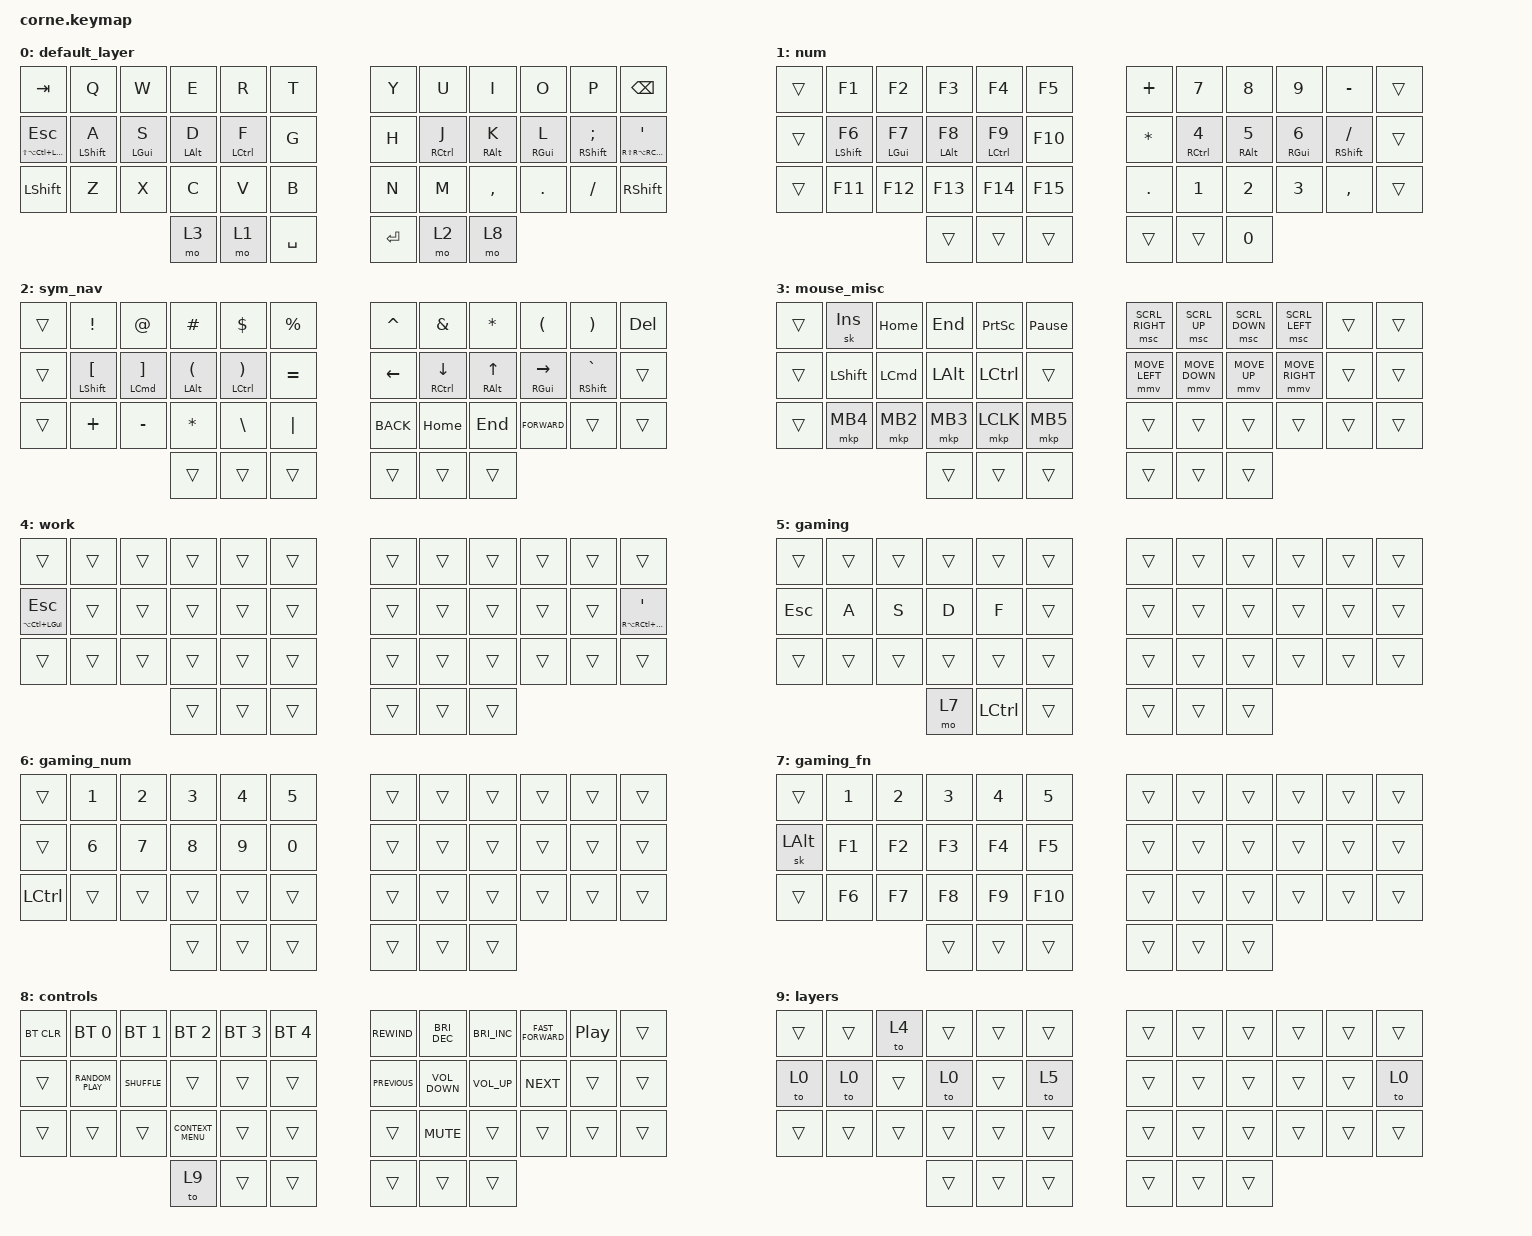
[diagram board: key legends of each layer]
/*
 * Copyright (c) 2020 The ZMK Contributors
 *
 * SPDX-License-Identifier: MIT
 */

#define ZMK_POINTING_DEFAULT_MOVE_VAL 1500  // default: 600
#define ZMK_POINTING_DEFAULT_SCRL_VAL 20    // default: 10

#include <behaviors.dtsi>
#include <dt-bindings/zmk/bt.h>
#include <dt-bindings/zmk/keys.h>
#include <dt-bindings/zmk/pointing.h>

/ {
    behaviors {
        hml: home_row_mod_left {
            compatible = "zmk,behavior-hold-tap";
            #binding-cells = <2>;
            flavor = "balanced";
            require-prior-idle-ms = <150>;
            tapping-term-ms = <280>;
            quick-tap-ms = <175>;
            bindings = <&kp>, <&kp>;

            hold-trigger-key-positions = <7 8 9 10 11 6 18 30 31 19 32 20 33 21 6 7 8 9 10 11 18 19 20 21 22 23 30 31 32 33 34 35 39 40 41>; // List of keys on the right side of the keyboard
            hold-trigger-on-release;
        };

        hmr: home_row_mod_right {
            compatible = "zmk,behavior-hold-tap";
            #binding-cells = <2>;
            flavor = "balanced";
            require-prior-idle-ms = <150>;
            tapping-term-ms = <280>;
            quick-tap-ms = <175>;
            bindings = <&kp>, <&kp>;

            hold-trigger-key-positions = <1 2 3 4 5 0 1 2 3 4 5 12 13 14 15 16 17 24 25 26 27 28 29 36 37 38>; // List of keys on the left side of the keyboard
            hold-trigger-on-release;
        };
    };

    keymap {
        compatible = "zmk,keymap";

        default_layer {
            // -----------------------------------------------------------------------------------------
            // |  TAB |  Q  |  W  |  E  |  R  |  T  |   |  Y  |  U   |  I  |  O  |  P  | BSPC |
            // | CTRL |  A  |  S  |  D  |  F  |  G  |   |  H  |  J   |  K  |  L  |  ;  |  '   |
            // | SHFT |  Z  |  X  |  C  |  V  |  B  |   |  N  |  M   |  ,  |  .  |  /  | ESC  |
            //                    | GUI | LWR | SPC |   | ENT | RSE  | ALT |

            bindings = <
&kp TAB                       &kp Q         &kp W            &kp E        &kp R                &kp T        &kp Y    &kp U         &kp I        &kp O             &kp P            &kp BSPC
&hml LS(LA(LC(LGUI))) ESCAPE  &hml LSHFT A  &hml LEFT_GUI S  &hml LALT D  &hml LEFT_CONTROL F  &kp G        &kp H    &hmr RCTRL J  &hmr RALT K  &hmr RIGHT_GUI L  &hmr RSHFT SEMI  &hmr RS(RA(RC(RGUI))) SINGLE_QUOTE
&kp LSHFT                     &kp Z         &kp X            &kp C        &kp V                &kp B        &kp N    &kp M         &kp COMMA    &kp DOT           &kp FSLH         &kp RSHFT
                                                             &mo 3        &mo 1                &kp SPACE    &kp RET  &mo 2         &mo 8
            >;
        };

        num {
            // -----------------------------------------------------------------------------------------
            // |  TAB |  1  |  2  |  3  |  4  |  5  |   |  6  |  7  |  8  |  9  |  0  | BSPC |
            // | BTCLR| BT1 | BT2 | BT3 | BT4 | BT5 |   | LFT | DWN |  UP | RGT |     |      |
            // | SHFT |     |     |     |     |     |   |     |     |     |     |     |      |
            //                    | GUI |     | SPC |   | ENT |     | ALT |

            bindings = <
&trans  &kp F1          &kp F2        &kp F3            &kp F4         &kp F5     &kp PLUS      &kp N7               &kp N8                   &kp N9              &kp MINUS          &trans
&trans  &hml LSHIFT F6  &hml LGUI F7  &hml LEFT_ALT F8  &hml LCTRL F9  &kp F10    &kp ASTERISK  &hmr RCTRL NUMBER_4  &hmr RIGHT_ALT NUMBER_5  &hmr RGUI NUMBER_6  &hmr RSHIFT SLASH  &trans
&trans  &kp F11         &kp F12       &kp F13           &kp F14        &kp F15    &kp DOT       &kp N1               &kp N2                   &kp N3              &kp COMMA          &trans
                                      &trans            &trans         &trans     &trans        &trans               &kp NUMBER_0
            >;
        };

        sym_nav {
            // -----------------------------------------------------------------------------------------
            // |  TAB |  !  |  @  |  #  |  $  |  %  |   |  ^  |  &  |  *  |  (  |  )  | BSPC |
            // | CTRL |     |     |     |     |     |   |  -  |  =  |  [  |  ]  |  \  |  `   |
            // | SHFT |     |     |     |     |     |   |  _  |  +  |  {  |  }  | "|" |  ~   |
            //                    | GUI |     | SPC |   | ENT |     | ALT |

            bindings = <
&trans  &kp EXCL                      &kp AT                   &kp HASH                    &kp DLLR                      &kp PRCNT    &kp CARET   &kp AMPS               &kp ASTRK                &kp LPAR         &kp RPAR           &kp DELETE
&trans  &hml LEFT_SHIFT LEFT_BRACKET  &hml LCMD RIGHT_BRACKET  &hml LALT LEFT_PARENTHESIS  &hml LCTRL RIGHT_PARENTHESIS  &kp EQUAL    &kp LEFT    &hmr RCTRL DOWN_ARROW  &hmr RIGHT_ALT UP_ARROW  &hmr RGUI RIGHT  &hmr RSHIFT GRAVE  &trans
&trans  &kp PLUS                      &kp MINUS                &kp ASTERISK                &kp BACKSLASH                 &kp PIPE     &kp K_BACK  &kp HOME               &kp END                  &kp K_FORWARD    &trans             &trans
                                                               &trans                      &trans                        &trans       &trans      &trans                 &trans
            >;
        };

        mouse_misc {
            bindings = <
&trans  &sk INSERT      &kp HOME          &kp END       &kp PRINTSCREEN   &kp PAUSE_BREAK    &msc SCRL_RIGHT  &msc SCRL_UP    &msc SCRL_DOWN  &msc SCRL_LEFT   &trans  &trans
&trans  &kp LEFT_SHIFT  &kp LEFT_COMMAND  &kp LEFT_ALT  &kp LEFT_CONTROL  &trans             &mmv MOVE_LEFT   &mmv MOVE_DOWN  &mmv MOVE_UP    &mmv MOVE_RIGHT  &trans  &trans
&trans  &mkp MB4        &mkp MB2          &mkp MB3      &mkp LCLK         &mkp MB5           &trans           &trans          &trans          &trans           &trans  &trans
                                          &trans        &trans            &trans             &trans           &trans          &trans
            >;
        };

        work {
            bindings = <
&trans                 &trans  &trans  &trans  &trans  &trans    &trans  &trans  &trans  &trans  &trans  &trans
&hml LA(LC(LGUI)) ESC  &trans  &trans  &trans  &trans  &trans    &trans  &trans  &trans  &trans  &trans  &hmr RA(RC(RGUI)) SINGLE_QUOTE
&trans                 &trans  &trans  &trans  &trans  &trans    &trans  &trans  &trans  &trans  &trans  &trans
                                       &trans  &trans  &trans    &trans  &trans  &trans
            >;
        };

        gaming {
            bindings = <
&trans   &trans  &trans  &trans  &trans     &trans    &trans  &trans  &trans  &trans  &trans  &trans
&kp ESC  &kp A   &kp S   &kp D   &kp F      &trans    &trans  &trans  &trans  &trans  &trans  &trans
&trans   &trans  &trans  &trans  &trans     &trans    &trans  &trans  &trans  &trans  &trans  &trans
                         &mo 7   &kp LCTRL  &trans    &trans  &trans  &trans
            >;
        };

        gaming_num {
            bindings = <
&trans     &kp N1  &kp N2  &kp N3  &kp N4  &kp N5    &trans  &trans  &trans  &trans  &trans  &trans
&trans     &kp N6  &kp N7  &kp N8  &kp N9  &kp N0    &trans  &trans  &trans  &trans  &trans  &trans
&kp LCTRL  &trans  &trans  &trans  &trans  &trans    &trans  &trans  &trans  &trans  &trans  &trans
                           &trans  &trans  &trans    &trans  &trans  &trans
            >;
        };

        gaming_fn {
            bindings = <
&trans    &kp N1  &kp N2  &kp N3  &kp N4  &kp N5     &trans  &trans  &trans  &trans  &trans  &trans
&sk LALT  &kp F1  &kp F2  &kp F3  &kp F4  &kp F5     &trans  &trans  &trans  &trans  &trans  &trans
&trans    &kp F6  &kp F7  &kp F8  &kp F9  &kp F10    &trans  &trans  &trans  &trans  &trans  &trans
                          &trans  &trans  &trans     &trans  &trans  &trans
            >;
        };

        controls {
            bindings = <
&bt BT_CLR  &bt BT_SEL 0       &bt BT_SEL 1   &bt BT_SEL 2        &bt BT_SEL 3  &bt BT_SEL 4    &kp C_REWIND    &kp C_BRI_DEC      &kp C_BRI_INC    &kp C_FAST_FORWARD  &kp C_PLAY_PAUSE  &trans
&trans      &kp C_RANDOM_PLAY  &kp C_SHUFFLE  &trans              &trans        &trans          &kp C_PREVIOUS  &kp C_VOLUME_DOWN  &kp C_VOLUME_UP  &kp C_NEXT          &trans            &trans
&trans      &trans             &trans         &kp K_CONTEXT_MENU  &trans        &trans          &trans          &kp C_MUTE         &trans           &trans              &trans            &trans
                                              &to 9               &trans        &trans          &trans          &trans             &trans
            >;
        };

        layers {
            bindings = <
&trans  &trans  &to 4   &trans  &trans  &trans    &trans  &trans  &trans  &trans  &trans  &trans
&to 0   &to 0   &trans  &to 0   &trans  &to 5     &trans  &trans  &trans  &trans  &trans  &to 0
&trans  &trans  &trans  &trans  &trans  &trans    &trans  &trans  &trans  &trans  &trans  &trans
                        &trans  &trans  &trans    &trans  &trans  &trans
            >;
        };
    };
};
